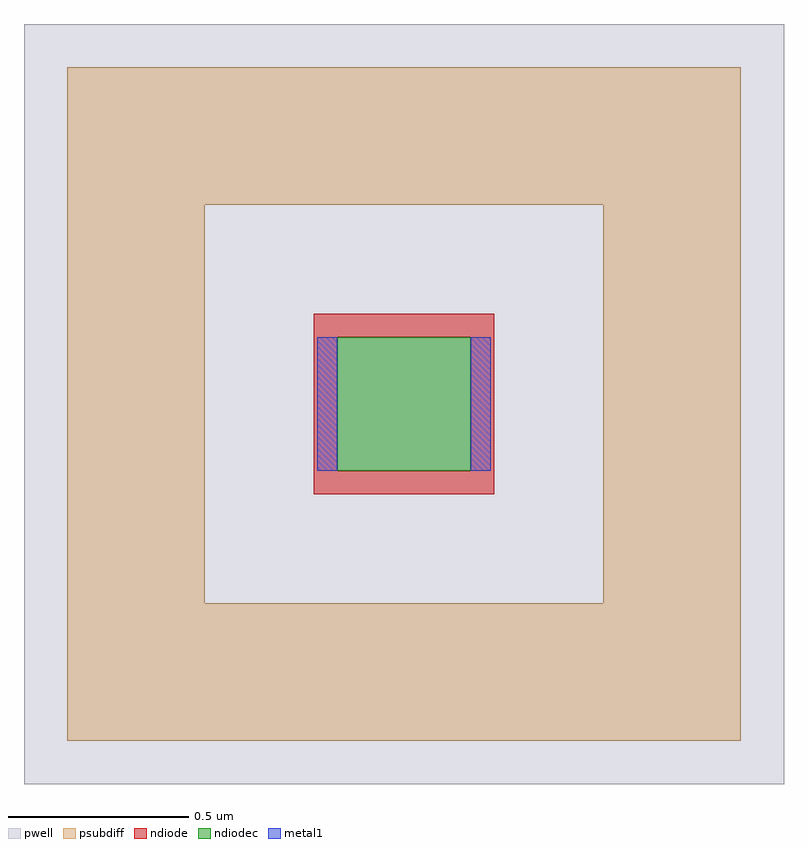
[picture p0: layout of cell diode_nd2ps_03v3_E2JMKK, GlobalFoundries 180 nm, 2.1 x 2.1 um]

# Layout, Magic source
magic
tech gf180mcuD
magscale 1 10
<< pwell >>
rect -210 -210 210 210
<< psubdiff >>
rect -186 110 186 186
rect -186 -110 -110 110
rect 110 -110 186 110
rect -186 -186 186 -110
<< ndiode >>
rect -50 37 50 50
rect -50 -37 -37 37
rect 37 -37 50 37
rect -50 -50 50 -37
<< ndiodec >>
rect -37 -37 37 37
<< metal1 >>
rect -48 -37 -37 37
rect 37 -37 48 37
<< properties >>
string FIXED_BBOX -148 -148 148 148
string gencell diode_nd2ps_03v3
string library gf180mcu
string parameters w 0.5 l 0.5 area 0.25 peri 2.0 nx 1 ny 1 dummy 0 lmin 0.45 wmin 0.45 class diode elc 0 erc 0 etc 0 ebc 0 doverlap 0 full_metal 0 compatible {diode_nd2ps_03v3 diode_nd2ps_06v0}
<< end >>
